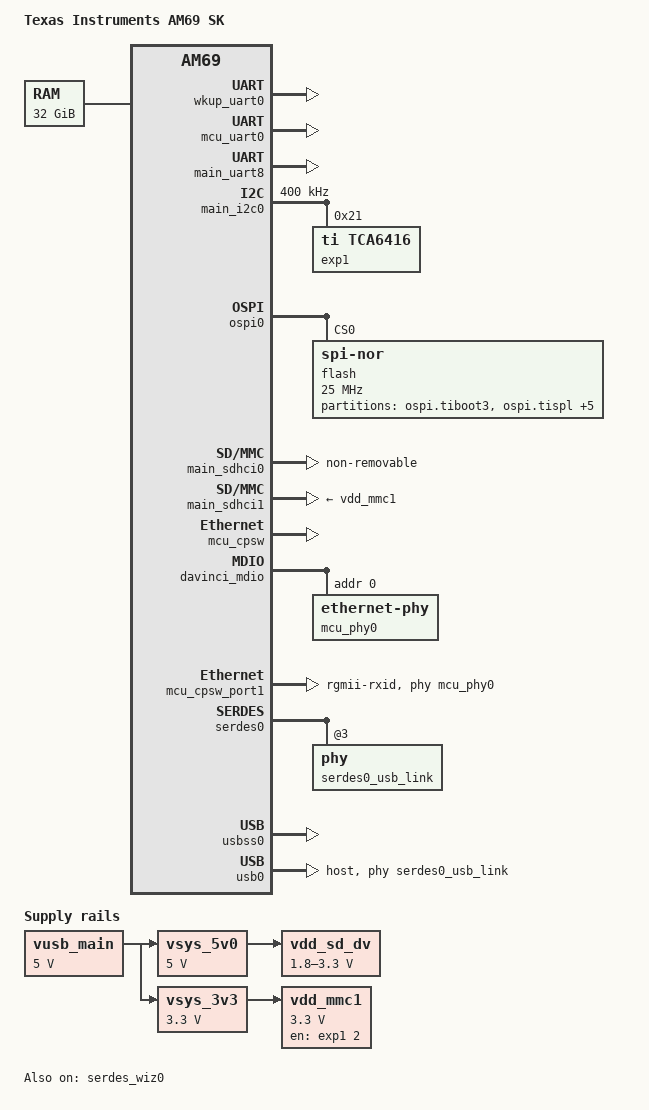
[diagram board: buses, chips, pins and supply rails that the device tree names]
// SPDX-License-Identifier: GPL-2.0
/*
 * Copyright (C) 2022-2023 Texas Instruments Incorporated - https://www.ti.com/
 *
 * Design Files: https://www.ti.com/lit/zip/SPRR466
 * TRM: https://www.ti.com/lit/zip/spruj52
 */

/dts-v1/;

#include <dt-bindings/net/ti-dp83867.h>
#include <dt-bindings/gpio/gpio.h>
#include "k3-j784s4.dtsi"

/ {
	compatible = "ti,am69-sk", "ti,j784s4";
	model = "Texas Instruments AM69 SK";

	chosen {
		stdout-path = "serial2:115200n8";
	};

	aliases {
		serial2 = &main_uart8;
		mmc0 = &main_sdhci0;
		mmc1 = &main_sdhci1;
		i2c0 = &main_i2c0;
		ethernet0 = &mcu_cpsw_port1;
	};

	memory@80000000 {
		device_type = "memory";
		/* 32G RAM */
		reg = <0x00000000 0x80000000 0x00000000 0x80000000>,
		      <0x00000008 0x80000000 0x00000007 0x80000000>;
		bootph-pre-ram;
	};

	reserved_memory: reserved-memory {
		#address-cells = <2>;
		#size-cells = <2>;
		ranges;

		secure_ddr: optee@9e800000 {
			reg = <0x00 0x9e800000 0x00 0x01800000>;
			no-map;
		};
	};

	vusb_main: regulator-vusb-main5v0 {
		/* USB MAIN INPUT 5V DC */
		compatible = "regulator-fixed";
		regulator-name = "vusb-main5v0";
		regulator-min-microvolt = <5000000>;
		regulator-max-microvolt = <5000000>;
		regulator-always-on;
		regulator-boot-on;
	};

	vsys_5v0: regulator-vsys5v0 {
		/* Output of LM61460 */
		compatible = "regulator-fixed";
		regulator-name = "vsys_5v0";
		regulator-min-microvolt = <5000000>;
		regulator-max-microvolt = <5000000>;
		vin-supply = <&vusb_main>;
		regulator-always-on;
		regulator-boot-on;
	};

	vsys_3v3: regulator-vsys3v3 {
		/* Output of LM5143 */
		compatible = "regulator-fixed";
		regulator-name = "vsys_3v3";
		regulator-min-microvolt = <3300000>;
		regulator-max-microvolt = <3300000>;
		vin-supply = <&vusb_main>;
		regulator-always-on;
		regulator-boot-on;
	};

	vdd_mmc1: regulator-sd {
		/* Output of TPS22918 */
		compatible = "regulator-fixed";
		regulator-name = "vdd_mmc1";
		regulator-min-microvolt = <3300000>;
		regulator-max-microvolt = <3300000>;
		regulator-boot-on;
		enable-active-high;
		vin-supply = <&vsys_3v3>;
		gpio = <&exp1 2 GPIO_ACTIVE_HIGH>;
	};

	vdd_sd_dv: regulator-tlv71033 {
		/* Output of TLV71033 */
		compatible = "regulator-gpio";
		regulator-name = "tlv71033";
		pinctrl-names = "default";
		pinctrl-0 = <&vdd_sd_dv_pins_default>;
		regulator-min-microvolt = <1800000>;
		regulator-max-microvolt = <3300000>;
		regulator-boot-on;
		vin-supply = <&vsys_5v0>;
		gpios = <&main_gpio0 49 GPIO_ACTIVE_HIGH>;
		states = <1800000 0x0>,
			 <3300000 0x1>;
	};
};

&wkup_pmx0 {
	mcu_fss0_ospi0_pins_default: mcu-fss0-ospi0-pins-default {
		pinctrl-single,pins = <
			J784S4_WKUP_IOPAD(0x000, PIN_OUTPUT, 0) /* (E32) MCU_OSPI0_CLK */
			J784S4_WKUP_IOPAD(0x02c, PIN_OUTPUT, 0) /* (A32) MCU_OSPI0_CSn0 */
			J784S4_WKUP_IOPAD(0x00c, PIN_INPUT, 0) /* (B33) MCU_OSPI0_D0 */
			J784S4_WKUP_IOPAD(0x010, PIN_INPUT, 0) /* (B32) MCU_OSPI0_D1 */
			J784S4_WKUP_IOPAD(0x014, PIN_INPUT, 0) /* (C33) MCU_OSPI0_D2 */
			J784S4_WKUP_IOPAD(0x018, PIN_INPUT, 0) /* (C35) MCU_OSPI0_D3 */
			J784S4_WKUP_IOPAD(0x01c, PIN_INPUT, 0) /* (D33) MCU_OSPI0_D4 */
			J784S4_WKUP_IOPAD(0x020, PIN_INPUT, 0) /* (D34) MCU_OSPI0_D5 */
			J784S4_WKUP_IOPAD(0x024, PIN_INPUT, 0) /* (E34) MCU_OSPI0_D6 */
			J784S4_WKUP_IOPAD(0x028, PIN_INPUT, 0) /* (E33) MCU_OSPI0_D7 */
			J784S4_WKUP_IOPAD(0x008, PIN_INPUT, 0) /* (C34) MCU_OSPI0_DQS */
		>;
	};
};

&wkup_pmx2 {
	mcu_cpsw_pins_default: mcu-cpsw-pins-default {
		pinctrl-single,pins = <
			J784S4_WKUP_IOPAD(0x02c, PIN_INPUT, 0) /* (A35) MCU_RGMII1_RD0 */
			J784S4_WKUP_IOPAD(0x028, PIN_INPUT, 0) /* (B36) MCU_RGMII1_RD1 */
			J784S4_WKUP_IOPAD(0x024, PIN_INPUT, 0) /* (C36) MCU_RGMII1_RD2 */
			J784S4_WKUP_IOPAD(0x020, PIN_INPUT, 0) /* (D36) MCU_RGMII1_RD3 */
			J784S4_WKUP_IOPAD(0x01c, PIN_INPUT, 0) /* (B37) MCU_RGMII1_RXC */
			J784S4_WKUP_IOPAD(0x004, PIN_INPUT, 0) /* (C37) MCU_RGMII1_RX_CTL */
			J784S4_WKUP_IOPAD(0x014, PIN_OUTPUT, 0) /* (D37) MCU_RGMII1_TD0 */
			J784S4_WKUP_IOPAD(0x010, PIN_OUTPUT, 0) /* (D38) MCU_RGMII1_TD1 */
			J784S4_WKUP_IOPAD(0x00c, PIN_OUTPUT, 0) /* (E37) MCU_RGMII1_TD2 */
			J784S4_WKUP_IOPAD(0x008, PIN_OUTPUT, 0) /* (E38) MCU_RGMII1_TD3 */
			J784S4_WKUP_IOPAD(0x018, PIN_OUTPUT, 0) /* (E36) MCU_RGMII1_TXC */
			J784S4_WKUP_IOPAD(0x000, PIN_OUTPUT, 0) /* (C38) MCU_RGMII1_TX_CTL */
		>;
	};

	mcu_mdio_pins_default: mcu-mdio-pins-default {
		pinctrl-single,pins = <
			J784S4_WKUP_IOPAD(0x034, PIN_OUTPUT, 0) /* (A36) MCU_MDIO0_MDC */
			J784S4_WKUP_IOPAD(0x030, PIN_INPUT, 0) /* (B35) MCU_MDIO0_MDIO */
		>;
	};

	mcu_uart0_pins_default: mcu-uart0-pins-default {
		pinctrl-single,pins = <
			J784S4_WKUP_IOPAD(0x08C, PIN_INPUT, 0) /* (K38) MCU_UART0_RXD */
			J784S4_WKUP_IOPAD(0x088, PIN_OUTPUT, 0) /* (J37) MCU_UART0_TXD */
		>;
	};

	wkup_uart0_pins_default: wkup-uart0-pins-default {
		pinctrl-single,pins = <
			J784S4_WKUP_IOPAD(0x070, PIN_INPUT, 0) /* (L37) WKUP_UART0_CTSn */
			J784S4_WKUP_IOPAD(0x074, PIN_OUTPUT, 0) /* (L36) WKUP_UART0_RTSn */
			J784S4_WKUP_IOPAD(0x048, PIN_INPUT, 0) /* (K35) WKUP_UART0_RXD */
			J784S4_WKUP_IOPAD(0x04c, PIN_OUTPUT, 0) /* (K34) WKUP_UART0_TXD */
		>;
	};

};


&main_pmx0 {
	main_uart8_pins_default: main-uart8-pins-default {
		pinctrl-single,pins = <
			J784S4_IOPAD(0x0d0, PIN_INPUT, 11) /* (AP38) SPI0_CS1.UART8_RXD */
			J784S4_IOPAD(0x0d4, PIN_OUTPUT, 11) /* (AN38) SPI0_CLK.UART8_TXD */
		>;
	};

	main_i2c0_pins_default: main-i2c0-pins-default {
		pinctrl-single,pins = <
			J784S4_IOPAD(0x0e0, PIN_INPUT_PULLUP, 0) /* (AN36) I2C0_SCL */
			J784S4_IOPAD(0x0e4, PIN_INPUT_PULLUP, 0) /* (AP37) I2C0_SDA */
		>;
	};

	main_mmc1_pins_default: main-mmc1-pins-default {
		pinctrl-single,pins = <
			J784S4_IOPAD(0x104, PIN_INPUT, 0) /* (AB38) MMC1_CLK */
			J784S4_IOPAD(0x108, PIN_INPUT, 0) /* (AB36) MMC1_CMD */
			J784S4_IOPAD(0x100, PIN_INPUT, 0) /* (No Pin) MMC1_CLKLB */
			J784S4_IOPAD(0x0fc, PIN_INPUT, 0) /* (AA33) MMC1_DAT0 */
			J784S4_IOPAD(0x0f8, PIN_INPUT, 0) /* (AB34) MMC1_DAT1 */
			J784S4_IOPAD(0x0f4, PIN_INPUT, 0) /* (AA32) MMC1_DAT2 */
			J784S4_IOPAD(0x0f0, PIN_INPUT, 0) /* (AC38) MMC1_DAT3 */
			J784S4_IOPAD(0x0e8, PIN_INPUT, 8) /* (AR38) TIMER_IO0.MMC1_SDCD */
		>;
	};

	main_usbss0_pins_default: main-usbss0-pins-default {
		pinctrl-single,pins = <
			J784S4_IOPAD(0x0ec, PIN_OUTPUT, 6) /* (AN37) TIMER_IO1.USB0_DRVVBUS */
		>;
	};

	vdd_sd_dv_pins_default: vdd-sd-dv-pins-default {
		pinctrl-single,pins = <
			J784S4_IOPAD(0x0C4, PIN_INPUT, 7) /* (AD36) ECAP0_IN_APWM_OUT.GPIO0_49 */
		>;
	};
};

&wkup_uart0 {
	status = "okay";
	pinctrl-names = "default";
	pinctrl-0 = <&wkup_uart0_pins_default>;
};

&mcu_uart0 {
	status = "okay";
	pinctrl-names = "default";
	pinctrl-0 = <&mcu_uart0_pins_default>;
};

&main_uart8 {
	status = "okay";
	pinctrl-names = "default";
	pinctrl-0 = <&main_uart8_pins_default>;
};

&main_i2c0 {
	status = "okay";
	pinctrl-names = "default";
	pinctrl-0 = <&main_i2c0_pins_default>;
	clock-frequency = <400000>;

	exp1: gpio@21 {
		compatible = "ti,tca6416";
		reg = <0x21>;
		gpio-controller;
		#gpio-cells = <2>;
		gpio-line-names	= "BOARDID_EEPROM_WP", "CAN_STB", "GPIO_uSD_PWR_EN",
				"IO_EXP_MCU_RGMII_RST#", "IO_EXP_PCIe0_4L_PERST#",
				"IO_EXP_PCIe1_M.2_RTSz", "IO_EXP_PCIe3_M.2_RTSz",
				"PM_INA_BUS_EN", "ENET1_EXP_PWRDN", "EXP1_ENET_RSTz",
				"ENET1_I2CMUX_SEL", "PCIe0_CLKREQ#", "PCIe1_M.2_CLKREQ#",
				"PCIe3_M2_CLKREQ#", "PCIe0_PRSNT2#_1", "PCIe0_PRSNT2#_2";
	};
};

&ospi0 {
	pinctrl-names = "default";
	pinctrl-0 = <&mcu_fss0_ospi0_pins_default>;

	flash@0 {
		compatible = "jedec,spi-nor";
		reg = <0x0>;
		spi-tx-bus-width = <8>;
		spi-rx-bus-width = <8>;
		spi-max-frequency = <25000000>;
		cdns,tshsl-ns = <60>;
		cdns,tsd2d-ns = <60>;
		cdns,tchsh-ns = <60>;
		cdns,tslch-ns = <60>;
		cdns,read-delay = <4>;
		cdns,phy-mode;

		partitions {
			compatible = "fixed-partitions";
			#address-cells = <1>;
			#size-cells = <1>;

			partition@0 {
				label = "ospi.tiboot3";
				reg = <0x0 0x100000>;
			};

			partition@100000 {
				label = "ospi.tispl";
				reg = <0x100000 0x200000>;
			};

			partition@300000 {
				label = "ospi.u-boot";
				reg = <0x300000 0x400000>;
			};

			partition@700000 {
				label = "ospi.env";
				reg = <0x700000 0x40000>;
			};

			partition@740000 {
				label = "ospi.env.backup";
				reg = <0x740000 0x40000>;
			};

			partition@800000 {
				label = "ospi.rootfs";
				reg = <0x800000 0x37c0000>;
			};

			partition@3fc0000 {
				label = "ospi.phypattern";
				reg = <0x3fc0000 0x40000>;
			};
		};
	};
};

&main_sdhci0 {
	/* eMMC */
	status = "okay";
	non-removable;
	ti,driver-strength-ohm = <50>;
	disable-wp;
};

&main_sdhci1 {
	/* SD card */
	status = "okay";
	pinctrl-0 = <&main_mmc1_pins_default>;
	pinctrl-names = "default";
	disable-wp;
	vmmc-supply = <&vdd_mmc1>;
	vqmmc-supply = <&vdd_sd_dv>;
};

&main_gpio0 {
	status = "okay";
};


&mcu_cpsw {
	status = "okay";
	pinctrl-names = "default";
	pinctrl-0 = <&mcu_cpsw_pins_default>, <&mcu_mdio_pins_default>;
};

&davinci_mdio {
	mcu_phy0: ethernet-phy@0 {
		reg = <0>;
		ti,rx-internal-delay = <DP83867_RGMIIDCTL_2_00_NS>;
		ti,fifo-depth = <DP83867_PHYCR_FIFO_DEPTH_4_B_NIB>;
		ti,min-output-impedance;
	};
};

&mcu_cpsw_port1 {
	status = "okay";
	phy-mode = "rgmii-rxid";
	phy-handle = <&mcu_phy0>;
};

&serdes_ln_ctrl {
	idle-states =	<J784S4_SERDES0_LANE0_PCIE1_LANE0>, <J784S4_SERDES0_LANE1_PCIE1_LANE1>,
			<J784S4_SERDES0_LANE2_PCIE3_LANE0>, <J784S4_SERDES0_LANE3_USB>,
			<J784S4_SERDES1_LANE0_PCIE0_LANE0>, <J784S4_SERDES1_LANE1_PCIE0_LANE1>,
			<J784S4_SERDES1_LANE2_PCIE0_LANE2>, <J784S4_SERDES1_LANE3_PCIE0_LANE3>,
			<J784S4_SERDES2_LANE0_IP2_UNUSED>, <J784S4_SERDES2_LANE1_IP2_UNUSED>,
			<J784S4_SERDES2_LANE2_IP3_UNUSED>, <J784S4_SERDES2_LANE3_IP3_UNUSED>;
};

&serdes_refclk {
	clock-frequency = <100000000>;
};

&serdes_wiz0 {
	status = "okay";
};

&serdes0 {
	status = "okay";
	serdes0_usb_link: phy@3 {
		reg = <3>;
		cdns,num-lanes = <1>;
		#phy-cells = <0>;
		cdns,phy-type = <PHY_TYPE_USB3>;
		resets = <&serdes_wiz0 4>;
	};
};

&usb_serdes_mux {
	idle-states = <0>; /* USB0 to SERDES0 */
};

&usbss0 {
	status = "okay";
	pinctrl-0 = <&main_usbss0_pins_default>;
	pinctrl-names = "default";
	ti,vbus-divider;
};

&usb0 {
	dr_mode = "host";
	maximum-speed = "super-speed";
	phys = <&serdes0_usb_link>;
	phy-names = "cdns3,usb3-phy";
};
